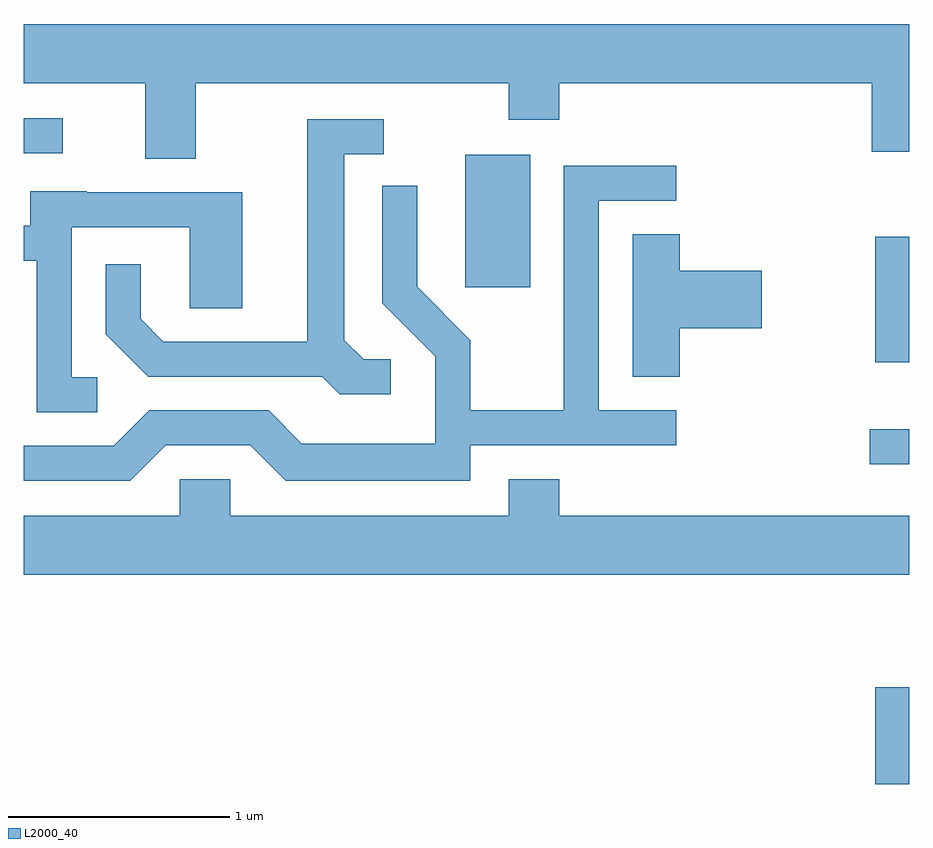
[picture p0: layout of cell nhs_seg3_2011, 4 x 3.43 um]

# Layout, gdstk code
import gdstk
lib = gdstk.Library(unit=1e-6, precision=1e-09)
def R(c, l, rs):  # rectangles x0, y0, x1, y1
    for r in rs: c.add(gdstk.rectangle(r[:2], r[2:], *l))
def P(c, l, *ps):  # polygons
    for p in ps: c.add(gdstk.Polygon(p, *l))
L2000_40 = (2000, 40)

nhs_seg3_2011 = lib.new_cell('nhs_seg3_2011')
R(nhs_seg3_2011, L2000_40, [(247.456,1193.892,247.611,1194.329), (247.433,1195.336,247.611,1195.494), (247.456,1195.796,247.611,1196.364), (245.606,1196.136,245.899,1196.734), (243.611,1196.741,243.788,1196.899)])
P(nhs_seg3_2011, L2000_40, [(244.389,1197.056),(245.801,1197.056),(245.801,1196.891),(246.029,1196.891),(246.029,1197.056),(247.441,1197.056),(247.441,1196.746),(247.611,1196.746),(247.611,1197.324),(243.611,1197.324),(243.611,1197.056),(244.161,1197.056),(244.161,1196.716),(244.389,1196.716)],
  [(245.268,1195.809),(245.147,1195.809),(245.059,1195.897),(245.059,1196.736),(245.238,1196.736),(245.238,1196.894),(244.891,1196.894),(244.891,1195.889),(244.242,1195.889),(244.139,1195.992),(244.139,1196.238),(243.981,1196.238),(243.981,1195.924),(244.174,1195.731),(244.959,1195.731),(245.039,1195.651),(245.268,1195.651)],
  [(244.252,1195.421),(244.634,1195.421),(244.794,1195.261),(245.629,1195.261),(245.629,1195.421),(246.558,1195.421),(246.558,1195.579),(246.209,1195.579),(246.209,1196.526),(246.558,1196.526),(246.558,1196.684),(246.051,1196.684),(246.051,1195.579),(245.629,1195.579),(245.629,1195.897),(245.389,1196.137),(245.389,1196.593),(245.231,1196.593),(245.231,1196.064),(245.471,1195.824),(245.471,1195.429),(244.867,1195.429),(244.717,1195.579),(244.179,1195.579),(244.019,1195.419),(243.611,1195.419),(243.611,1195.261),(244.092,1195.261)],
  [(243.943,1195.729),(243.829,1195.729),(243.829,1196.406),(244.361,1196.406),(244.361,1196.041),(244.599,1196.041),(244.599,1196.564),(243.895,1196.564),(243.895,1196.569),(243.641,1196.569),(243.641,1196.414),(243.611,1196.414),(243.611,1196.256),(243.671,1196.256),(243.671,1195.571),(243.943,1195.571)],
  [(246.574,1195.951),(246.944,1195.951),(246.944,1196.209),(246.574,1196.209),(246.574,1196.374),(246.361,1196.374),(246.361,1195.731),(246.574,1195.731)],
  [(247.611,1195.104),(246.029,1195.104),(246.029,1195.269),(245.801,1195.269),(245.801,1195.104),(244.544,1195.104),(244.544,1195.269),(244.316,1195.269),(244.316,1195.104),(243.611,1195.104),(243.611,1194.836),(247.611,1194.836)])

lib.write_gds('nhs_seg3_2011.gds')
